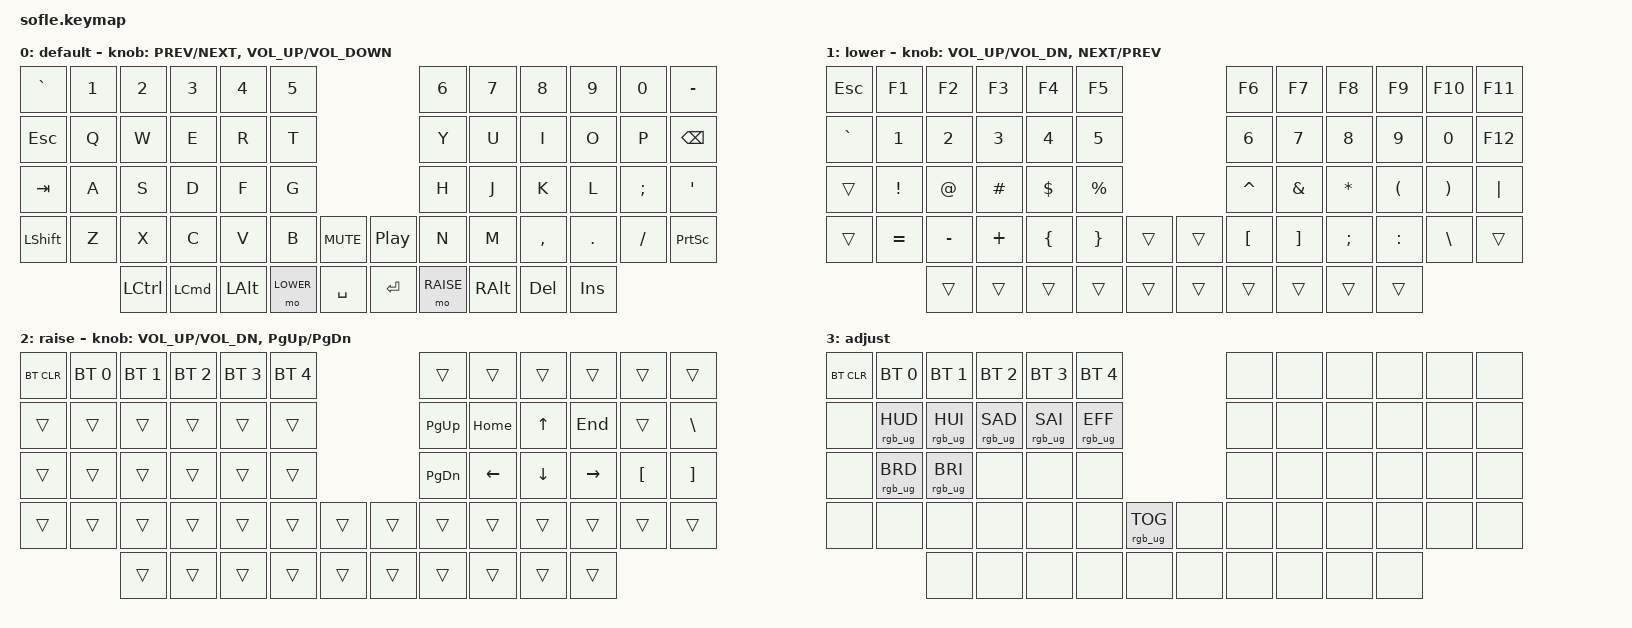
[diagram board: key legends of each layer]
/*
 * Copyright (c) 2020 The ZMK Contributors
 *
 * SPDX-License-Identifier: MIT
 */

#include <behaviors.dtsi>
#include <dt-bindings/zmk/bt.h>
#include <dt-bindings/zmk/ext_power.h>
#include <dt-bindings/zmk/keys.h>
#include <dt-bindings/zmk/rgb.h>

#define BASE 0
#define LOWER 1
#define RAISE 2
#define ADJUST 3

// Indicator + Drop Lighting (Underglow) + Backlight

// Bodge wire to TRRS data pin
&nice_view_spi { cs-gpios = <&pro_micro 0 GPIO_ACTIVE_HIGH>; };

/ {
    led_strip {
        compatible = "zmk,led-strip";
        pin = <&pro_micro 2 GPIO_ACTIVE_HIGH>; // pin danych WS2812
        chain-length = <36>;                  // liczba diod
        label = "LED_STRIP";
    };
    // Activate ADJUST layer by pressing raise and lower
    conditional_layers {
        compatible = "zmk,conditional-layers";

        adjust_layer {
            if-layers = <LOWER RAISE>;
            then-layer = <ADJUST>;
        };
    };

    keymap {
        compatible = "zmk,keymap";

        default_layer {
            display-name = "default";

            bindings = <
                &kp GRAVE  &kp N1  &kp N2            &kp N3    &kp N4        &kp N5                                     &kp N6     &kp N7         &kp N8      &kp N9      &kp N0    &kp MINUS
                &kp ESC    &kp Q   &kp W             &kp E     &kp R         &kp T                                      &kp Y      &kp U          &kp I       &kp O       &kp P     &kp BSPC
                &kp TAB    &kp A   &kp S             &kp D     &kp F         &kp G                                      &kp H      &kp J          &kp K       &kp L       &kp SEMI  &kp SQT
                &kp LSHFT  &kp Z   &kp X             &kp C     &kp V         &kp B      &kp C_MUTE    &kp C_PLAY_PAUSE  &kp N      &kp M          &kp COMMA   &kp DOT     &kp FSLH  &kp PRINTSCREEN
                                   &kp LEFT_CONTROL  &kp LCMD  &kp LEFT_ALT  &mo LOWER  &kp SPACE     &kp RET           &mo RAISE  &kp RIGHT_ALT  &kp DELETE  &kp INSERT
            >;

            sensor-bindings =
                <&inc_dec_kp C_PREV C_NEXT>,
                <&inc_dec_kp C_VOL_UP C_VOLUME_DOWN>;
        };

        lower_layer {
            display-name = "lower";

            bindings = <
                &kp ESCAPE  &kp F1     &kp F2     &kp F3    &kp F4    &kp F5                       &kp F6     &kp F7    &kp F8     &kp F9     &kp F10   &kp F11
                &kp GRAVE   &kp N1     &kp N2     &kp N3    &kp N4    &kp N5                       &kp N6     &kp N7    &kp N8     &kp N9     &kp N0    &kp F12
                &trans      &kp EXCL   &kp AT     &kp HASH  &kp DLLR  &kp PRCNT                    &kp CARET  &kp AMPS  &kp ASTRK  &kp LPAR   &kp RPAR  &kp PIPE
                &trans      &kp EQUAL  &kp MINUS  &kp PLUS  &kp LBRC  &kp RBRC   &trans    &trans  &kp LBKT   &kp RBKT  &kp SEMI   &kp COLON  &kp BSLH  &trans
                                       &trans     &trans    &trans    &trans     &trans    &trans  &trans     &trans    &trans     &trans
            >;

            sensor-bindings =
                <&inc_dec_kp C_VOL_UP C_VOL_DN>,
                <&inc_dec_kp C_NEXT C_PREV>;
        };

        raise_layer {
            display-name = "raise";

            bindings = <
                &bt BT_CLR  &bt BT_SEL 0  &bt BT_SEL 1  &bt BT_SEL 2  &bt BT_SEL 3  &bt BT_SEL 4                    &trans     &trans    &trans    &trans     &trans            &trans
                &trans      &trans        &trans        &trans        &trans        &trans                          &kp PG_UP  &kp HOME  &kp UP    &kp END    &trans            &kp BACKSLASH
                &trans      &trans        &trans        &trans        &trans        &trans                          &kp PG_DN  &kp LEFT  &kp DOWN  &kp RIGHT  &kp LEFT_BRACKET  &kp RIGHT_BRACKET
                &trans      &trans        &trans        &trans        &trans        &trans        &trans    &trans  &trans     &trans    &trans    &trans     &trans            &trans
                                          &trans        &trans        &trans        &trans        &trans    &trans  &trans     &trans    &trans    &trans
            >;

            sensor-bindings = <&inc_dec_kp C_VOL_UP C_VOL_DN &inc_dec_kp PG_UP PG_DN>;
        };

        adjust_layer {
            display-name = "adjust";

            bindings = <
                &bt BT_CLR         &bt BT_SEL 0     &bt BT_SEL 1     &bt BT_SEL 2     &bt BT_SEL 3     &bt BT_SEL 4                               &none  &none  &none  &none  &none  &none
                &none			   &rgb_ug RGB_HUD  &rgb_ug RGB_HUI  &rgb_ug RGB_SAD  &rgb_ug RGB_SAI  &rgb_ug RGB_EFF                            &none  &none  &none  &none  &none  &none
                &none              &rgb_ug RGB_BRD  &rgb_ug RGB_BRI  &none            &none            &none                                      &none  &none  &none  &none  &none  &none
                &none              &none            &none            &none            &none            &none            &rgb_ug RGB_TOG    &none  &none  &none  &none  &none  &none  &none
                                                    &none            &none            &none            &none            &none              &none  &none  &none  &none  &none
            >;
        };
    };
};
